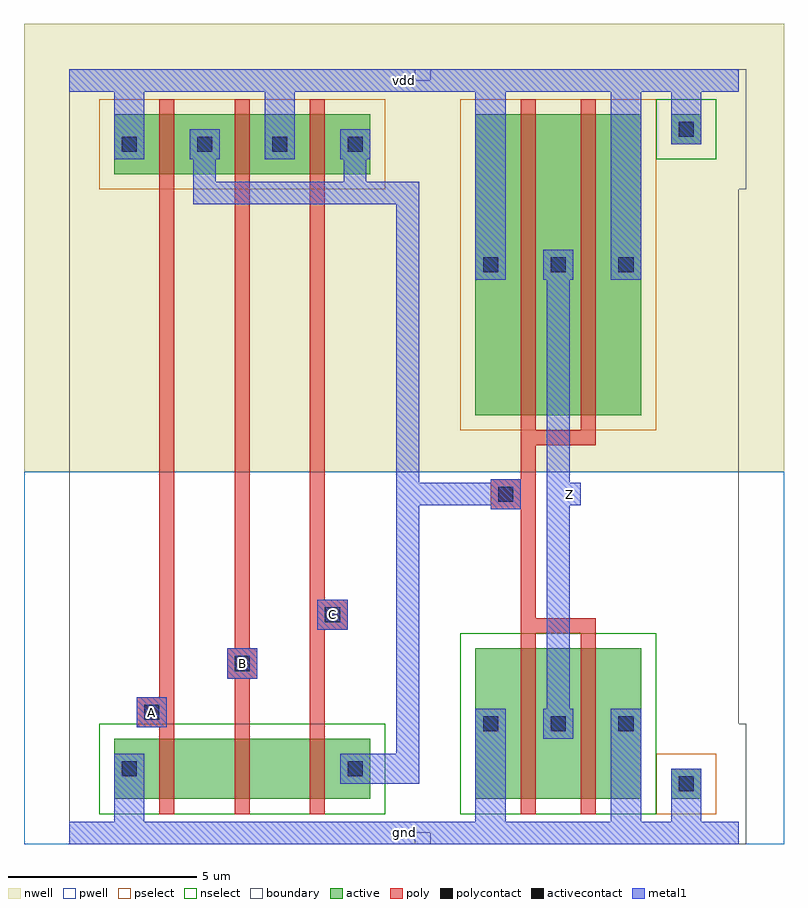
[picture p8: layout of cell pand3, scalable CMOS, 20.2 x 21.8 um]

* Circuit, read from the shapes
.subckt pand3 A B C Z gnd vdd
M1 pnand3_0_0/nmos_m1_w1_600_sm1_dactive_3/D A gnd gnd nfet w=1.6u l=0.4u
M2 pnand3_0_0/nmos_m1_w1_600_sactive_dactive_4/D B pnand3_0_0/nmos_m1_w1_600_sm1_dactive_3/D gnd nfet w=1.6u l=0.4u
M3 pdriver_2_1/A C pnand3_0_0/nmos_m1_w1_600_sactive_dactive_4/D gnd nfet w=1.6u l=0.4u
M4 Z pdriver_2_1/A gnd gnd nfet w=4u l=0.4u m=2
M5 pdriver_2_1/A A vdd vdd pfet w=1.6u l=0.4u
M6 vdd B pdriver_2_1/A vdd pfet w=1.6u l=0.4u
M7 pdriver_2_1/A C vdd vdd pfet w=1.6u l=0.4u
M8 Z pdriver_2_1/A vdd vdd pfet w=8u l=0.4u m=2
.ends

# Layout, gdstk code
import gdstk
lib = gdstk.Library(unit=1e-6, precision=1e-09)
def R(c, l, rs):  # rectangles x0, y0, x1, y1
    for r in rs: c.add(gdstk.rectangle(r[:2], r[2:], *l))
def A(c, l, x, y, w, h, nx, ny, dx, dy):  # array of equal rectangles
    R(c, l, [(x+i*dx, y+j*dy, x+i*dx+w, y+j*dy+h) for i in range(nx) for j in range(ny)])
pwell = (41, 0)
nwell = (42, 0)
active = (43, 0)
pselect = (44, 0)
nselect = (45, 0)
poly = (46, 0)
polycontact = (47, 0)
activecontact = (48, 0)
metal1 = (49, 0)
boundary = (63, 0)

contact_9 = lib.new_cell('contact_9')
R(contact_9, nwell, [(-1.2,-1.2,2,2)])
R(contact_9, active, [(0,0,0.8,0.8)])
R(contact_9, pselect, [(-0.4,-0.4,1.2,1.2)])
R(contact_9, activecontact, [(0.2,0.2,0.6,0.6)])
R(contact_9, metal1, [(0,0,0.8,0.8)])
R(contact_9, boundary, [(-1.2,-1.2,2,2)])

pmos_m1_w1_600_sm1_dm1 = lib.new_cell('pmos_m1_w1_600_sm1_dm1')
R(pmos_m1_w1_600_sm1_dm1, nwell, [(-1.2,-1.2,4,2.8)])
R(pmos_m1_w1_600_sm1_dm1, active, [(0,0,2.8,1.6)])
R(pmos_m1_w1_600_sm1_dm1, pselect, [(-0.4,-0.4,3.2,2)])
R(pmos_m1_w1_600_sm1_dm1, poly, [(1.2,-0.4,1.6,2), (1.2,-0.4,1.6,2)])
R(pmos_m1_w1_600_sm1_dm1, metal1, [(0,0.4,0.8,1.2), (2,0.4,2.8,1.2)])
R(pmos_m1_w1_600_sm1_dm1, boundary, [(-1.2,-1.2,4,2.8)])
pmos_m1_w1_600_sm1_dm1.add(gdstk.Reference(contact_9, (0,0.4)))
pmos_m1_w1_600_sm1_dm1.add(gdstk.Reference(contact_9, (2,0.4)))
pmos_m1_w1_600_sm1_dm1.add(gdstk.Label('G', (1.4,0.8), layer=46, texttype=0))
pmos_m1_w1_600_sm1_dm1.add(gdstk.Label('S', (0.4,0.8), layer=49, texttype=0))
pmos_m1_w1_600_sm1_dm1.add(gdstk.Label('D', (2.4,0.8), layer=49, texttype=0))

contact_14 = lib.new_cell('contact_14')
R(contact_14, pwell, [(-1.2,-1.2,2,2)])
R(contact_14, active, [(0,0,0.8,0.8)])
R(contact_14, nselect, [(-0.4,-0.4,1.2,1.2)])
R(contact_14, activecontact, [(0.2,0.2,0.6,0.6)])
R(contact_14, metal1, [(0,0,0.8,0.8)])
R(contact_14, boundary, [(-1.2,-1.2,2,2)])

nmos_m1_w1_600_sm1_dacti = lib.new_cell('nmos_m1_w1_600_sm1_dactive')
R(nmos_m1_w1_600_sm1_dacti, pwell, [(-1.2,-1.2,4,2.8)])
R(nmos_m1_w1_600_sm1_dacti, active, [(0,0,2.8,1.6), (2.1,0.5,2.7,1.1)])
R(nmos_m1_w1_600_sm1_dacti, nselect, [(-0.4,-0.4,3.2,2)])
R(nmos_m1_w1_600_sm1_dacti, poly, [(1.2,-0.4,1.6,2), (1.2,-0.4,1.6,2)])
R(nmos_m1_w1_600_sm1_dacti, metal1, [(0,0.4,0.8,1.2)])
R(nmos_m1_w1_600_sm1_dacti, boundary, [(-1.2,-1.2,4,2.8)])
nmos_m1_w1_600_sm1_dacti.add(gdstk.Reference(contact_14, (0,0.4)))
nmos_m1_w1_600_sm1_dacti.add(gdstk.Label('G', (1.4,0.8), layer=46, texttype=0))
nmos_m1_w1_600_sm1_dacti.add(gdstk.Label('S', (0.4,0.8), layer=49, texttype=0))
nmos_m1_w1_600_sm1_dacti.add(gdstk.Label('D', (2.4,0.8), layer=43, texttype=0))

nmos_m1_w1_600_sactive_d = lib.new_cell('nmos_m1_w1_600_sactive_dactive')
R(nmos_m1_w1_600_sactive_d, pwell, [(-1.2,-1.2,4,2.8)])
R(nmos_m1_w1_600_sactive_d, active, [(0,0,2.8,1.6), (0.1,0.5,0.7,1.1), (2.1,0.5,2.7,1.1)])
R(nmos_m1_w1_600_sactive_d, nselect, [(-0.4,-0.4,3.2,2)])
R(nmos_m1_w1_600_sactive_d, poly, [(1.2,-0.4,1.6,2), (1.2,-0.4,1.6,2)])
R(nmos_m1_w1_600_sactive_d, boundary, [(-1.2,-1.2,4,2.8)])
nmos_m1_w1_600_sactive_d.add(gdstk.Label('G', (1.4,0.8), layer=46, texttype=0))
nmos_m1_w1_600_sactive_d.add(gdstk.Label('S', (0.4,0.8), layer=43, texttype=0))
nmos_m1_w1_600_sactive_d.add(gdstk.Label('D', (2.4,0.8), layer=43, texttype=0))

c_nmos_m1_w1_600_sactive_d = lib.new_cell('nmos_m1_w1_600_sactive_dm1')
R(c_nmos_m1_w1_600_sactive_d, pwell, [(-1.2,-1.2,4,2.8)])
R(c_nmos_m1_w1_600_sactive_d, active, [(0,0,2.8,1.6), (0.1,0.5,0.7,1.1)])
R(c_nmos_m1_w1_600_sactive_d, nselect, [(-0.4,-0.4,3.2,2)])
R(c_nmos_m1_w1_600_sactive_d, poly, [(1.2,-0.4,1.6,2), (1.2,-0.4,1.6,2)])
R(c_nmos_m1_w1_600_sactive_d, metal1, [(2,0.4,2.8,1.2)])
R(c_nmos_m1_w1_600_sactive_d, boundary, [(-1.2,-1.2,4,2.8)])
c_nmos_m1_w1_600_sactive_d.add(gdstk.Reference(contact_14, (2,0.4)))
c_nmos_m1_w1_600_sactive_d.add(gdstk.Label('G', (1.4,0.8), layer=46, texttype=0))
c_nmos_m1_w1_600_sactive_d.add(gdstk.Label('S', (0.4,0.8), layer=43, texttype=0))
c_nmos_m1_w1_600_sactive_d.add(gdstk.Label('D', (2.4,0.8), layer=49, texttype=0))

contact_10 = lib.new_cell('contact_10')
R(contact_10, poly, [(0,0,0.8,0.8)])
R(contact_10, polycontact, [(0.2,0.2,0.6,0.6)])
R(contact_10, metal1, [(0,0,0.8,0.8)])
R(contact_10, boundary, [(0,0,0.8,0.8)])

pnand3_0 = lib.new_cell('pnand3_0')
R(pnand3_0, pwell, [(-1.2,-0.3,10.8,9.6)])
R(pnand3_0, nwell, [(-1.2,9.6,10.8,21.5)])
A(pnand3_0, poly, 2.4, 2.9, 0.4, 14.2, 3, 1, 2, 0)
R(pnand3_0, poly, [(2.2,2.8,2.4,3.6), (4.4,4.1,4.6,4.9), (6.4,5.4,7,6.2)])
R(pnand3_0, metal1, [(0,-0.3,9.6,0.3), (1.2,-0.3,2,1.3), (7.6,1.3,9,2.1), (8.7,1.3,9.3,17), (1.8,2.8,2.6,3.6), (4.2,4.1,5,4.9), (6.6,5.4,7.4,6.2), (3.3,16.7,3.9,17.3), (3.6,16.7,9,17.3), (7.3,16.7,7.9,17.3), (7.6,16.7,9,17.3), (8.7,16.7,9.3,17.3), (3.3,17,3.9,18.3), (7.3,17,7.9,18.3), (1.2,17.9,2,20.3), (5.2,17.9,6,20.3), (0,19.7,9.6,20.3)])
R(pnand3_0, boundary, [(0,0,9.6,20), (0,0,9.6,20)])
pnand3_0.add(gdstk.Reference(pmos_m1_w1_600_sm1_dm1, (1.2,17.5)))
pnand3_0.add(gdstk.Reference(pmos_m1_w1_600_sm1_dm1, (3.2,17.5)))
pnand3_0.add(gdstk.Reference(pmos_m1_w1_600_sm1_dm1, (5.2,17.5)))
pnand3_0.add(gdstk.Reference(nmos_m1_w1_600_sm1_dacti, (1.2,0.9)))
pnand3_0.add(gdstk.Reference(nmos_m1_w1_600_sactive_d, (3.2,0.9)))
pnand3_0.add(gdstk.Reference(c_nmos_m1_w1_600_sactive_d, (5.2,0.9)))
pnand3_0.add(gdstk.Reference(contact_10, (1.8,2.8)))
pnand3_0.add(gdstk.Reference(contact_10, (4.2,4.1)))
pnand3_0.add(gdstk.Reference(contact_10, (6.6,5.4)))
pnand3_0.add(gdstk.Label('A', (2.2,3.2), layer=49, texttype=0))
pnand3_0.add(gdstk.Label('B', (4.6,4.5), layer=49, texttype=0))
pnand3_0.add(gdstk.Label('C', (7,5.8), layer=49, texttype=0))
pnand3_0.add(gdstk.Label('Z', (9,17), layer=49, texttype=0))
pnand3_0.add(gdstk.Label('gnd', (4.8,0), layer=49, texttype=0))
pnand3_0.add(gdstk.Label('vdd', (4.8,20), layer=49, texttype=0))

pmos_m2_w8_000_sm1_dm1_d = lib.new_cell('pmos_m2_w8_000_sm1_dm1_da_p')
R(pmos_m2_w8_000_sm1_dm1_d, nwell, [(-1.2,-1.2,5.6,9.2)])
R(pmos_m2_w8_000_sm1_dm1_d, active, [(0,0,4.4,8)])
R(pmos_m2_w8_000_sm1_dm1_d, pselect, [(-0.4,-0.4,4.8,8.4)])
R(pmos_m2_w8_000_sm1_dm1_d, poly, [(1.2,-0.8,3.2,-0.4), (1.2,-0.4,1.6,8.4), (2.8,-0.4,3.2,8.4)])
A(pmos_m2_w8_000_sm1_dm1_d, metal1, 0, 3.6, 0.8, 0.8, 3, 1, 1.8, 0)
R(pmos_m2_w8_000_sm1_dm1_d, boundary, [(-1.2,-1.2,5.6,9.2)])
pmos_m2_w8_000_sm1_dm1_d.add(gdstk.Reference(contact_9, (0,3.6)))
pmos_m2_w8_000_sm1_dm1_d.add(gdstk.Reference(contact_9, (1.8,3.6)))
pmos_m2_w8_000_sm1_dm1_d.add(gdstk.Reference(contact_9, (3.6,3.6)))
pmos_m2_w8_000_sm1_dm1_d.add(gdstk.Label('G', (2.2,-0.6), layer=46, texttype=0))
pmos_m2_w8_000_sm1_dm1_d.add(gdstk.Label('S', (0.4,4), layer=49, texttype=0))
pmos_m2_w8_000_sm1_dm1_d.add(gdstk.Label('S', (4,4), layer=49, texttype=0))
pmos_m2_w8_000_sm1_dm1_d.add(gdstk.Label('D', (2.2,4), layer=49, texttype=0))

nmos_m2_w4_000_sm1_dm1_d = lib.new_cell('nmos_m2_w4_000_sm1_dm1_da_p')
R(nmos_m2_w4_000_sm1_dm1_d, pwell, [(-1.2,-1.2,5.6,5.2)])
R(nmos_m2_w4_000_sm1_dm1_d, active, [(0,0,4.4,4)])
R(nmos_m2_w4_000_sm1_dm1_d, nselect, [(-0.4,-0.4,4.8,4.4)])
R(nmos_m2_w4_000_sm1_dm1_d, poly, [(1.2,-0.4,1.6,4.4), (2.8,-0.4,3.2,4.4), (1.2,4.4,3.2,4.8)])
A(nmos_m2_w4_000_sm1_dm1_d, metal1, 0, 1.6, 0.8, 0.8, 3, 1, 1.8, 0)
R(nmos_m2_w4_000_sm1_dm1_d, boundary, [(-1.2,-1.2,5.6,5.2)])
nmos_m2_w4_000_sm1_dm1_d.add(gdstk.Reference(contact_14, (0,1.6)))
nmos_m2_w4_000_sm1_dm1_d.add(gdstk.Reference(contact_14, (1.8,1.6)))
nmos_m2_w4_000_sm1_dm1_d.add(gdstk.Reference(contact_14, (3.6,1.6)))
nmos_m2_w4_000_sm1_dm1_d.add(gdstk.Label('G', (2.2,4.6), layer=46, texttype=0))
nmos_m2_w4_000_sm1_dm1_d.add(gdstk.Label('S', (4,2), layer=49, texttype=0))
nmos_m2_w4_000_sm1_dm1_d.add(gdstk.Label('S', (0.4,2), layer=49, texttype=0))
nmos_m2_w4_000_sm1_dm1_d.add(gdstk.Label('D', (2.2,2), layer=49, texttype=0))

contact_15 = lib.new_cell('contact_15')
R(contact_15, nwell, [(-1.2,-1.2,2,2)])
R(contact_15, active, [(0,0,0.8,0.8)])
R(contact_15, nselect, [(-0.4,-0.4,1.2,1.2)])
R(contact_15, activecontact, [(0.2,0.2,0.6,0.6)])
R(contact_15, metal1, [(0,0,0.8,0.8)])
R(contact_15, boundary, [(-1.2,-1.2,2,2)])

contact_16 = lib.new_cell('contact_16')
R(contact_16, pwell, [(-1.2,-1.2,2,2)])
R(contact_16, active, [(0,0,0.8,0.8)])
R(contact_16, pselect, [(-0.4,-0.4,1.2,1.2)])
R(contact_16, activecontact, [(0.2,0.2,0.6,0.6)])
R(contact_16, metal1, [(0,0,0.8,0.8)])
R(contact_16, boundary, [(-1.2,-1.2,2,2)])

pinv_10 = lib.new_cell('pinv_10')
R(pinv_10, pwell, [(-1.2,-0.3,9.4,9.6)])
R(pinv_10, nwell, [(-1.2,9.6,9.4,21.5)])
R(pinv_10, poly, [(2.4,5.7,2.8,10.3), (2,8.6,2.4,9.4)])
R(pinv_10, metal1, [(0,-0.3,8.2,0.3), (1.2,-0.3,2,2.5), (4.8,-0.3,5.6,2.5), (6.4,0,7.2,1.3), (3.1,2.5,3.7,15.5), (1.6,8.6,2.4,9.4), (3.4,8.7,4,9.3), (1.2,14.7,2,20.3), (4.8,14.7,5.6,20.3), (6.4,18.7,7.2,20), (0,19.7,8.2,20.3)])
R(pinv_10, boundary, [(0,0,8.2,20), (0,0,8.2,20)])
pinv_10.add(gdstk.Reference(pmos_m2_w8_000_sm1_dm1_d, (1.2,11.1)))
pinv_10.add(gdstk.Reference(nmos_m2_w4_000_sm1_dm1_d, (1.2,0.9)))
pinv_10.add(gdstk.Reference(contact_15, (6.4,18.3)))
pinv_10.add(gdstk.Reference(contact_16, (6.4,0.9)))
pinv_10.add(gdstk.Reference(contact_10, (1.6,8.6)))
pinv_10.add(gdstk.Label('A', (2,9), layer=49, texttype=0))
pinv_10.add(gdstk.Label('Z', (3.7,9), layer=49, texttype=0))
pinv_10.add(gdstk.Label('gnd', (4.1,0), layer=49, texttype=0))
pinv_10.add(gdstk.Label('vdd', (4.1,20), layer=49, texttype=0))

pdriver_2 = lib.new_cell('pdriver_2')
R(pdriver_2, pwell, [(-1.2,-0.3,9.4,9.6)])
R(pdriver_2, nwell, [(-1.2,9.6,9.4,21.5)])
R(pdriver_2, metal1, [(0,-0.3,8.2,0.3), (1.6,8.6,2.4,9.4), (3.4,8.7,4,9.3), (0,19.7,8.2,20.3)])
R(pdriver_2, boundary, [(0,0,8.2,20), (0,0,8.2,20)])
pdriver_2.add(gdstk.Reference(pinv_10, (0,0)))
pdriver_2.add(gdstk.Label('Z', (3.7,9), layer=49, texttype=0))
pdriver_2.add(gdstk.Label('A', (2,9), layer=49, texttype=0))
pdriver_2.add(gdstk.Label('gnd', (4.1,0), layer=49, texttype=0))
pdriver_2.add(gdstk.Label('vdd', (4.1,20), layer=49, texttype=0))

pand3 = lib.new_cell('pand3')
R(pand3, metal1, [(0,-0.3,17.8,0.3), (1.8,2.8,2.6,3.6), (4.2,4.1,5,4.9), (6.6,5.4,7.4,6.2), (8.7,8.7,9.3,9.3), (9,8.7,11.6,9.3), (13,8.7,13.6,9.3), (8.7,9,9.3,17), (0,19.7,17.8,20.3)])
R(pand3, boundary, [(0,0,17.8,20), (0,0,17.8,20)])
pand3.add(gdstk.Reference(pnand3_0, (0,0)))
pand3.add(gdstk.Reference(pdriver_2, (9.6,0)))
pand3.add(gdstk.Label('Z', (13.3,9), layer=49, texttype=0))
pand3.add(gdstk.Label('A', (2.2,3.2), layer=49, texttype=0))
pand3.add(gdstk.Label('B', (4.6,4.5), layer=49, texttype=0))
pand3.add(gdstk.Label('C', (7,5.8), layer=49, texttype=0))
pand3.add(gdstk.Label('gnd', (8.9,0), layer=49, texttype=0))
pand3.add(gdstk.Label('vdd', (8.9,20), layer=49, texttype=0))

lib.write_gds('pand3.gds')
